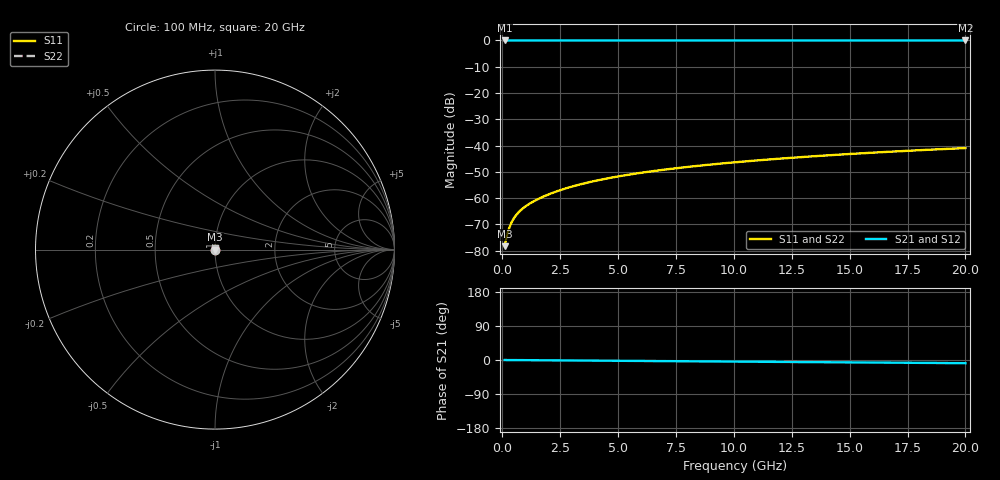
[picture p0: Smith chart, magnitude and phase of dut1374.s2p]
! Touchstone file exported from HFSS 2026.1.0
!  File:  C:/ffzhzh/LocalFiles/Ansys_Project_Files/temp_train_TSV_1374_1783196300_18472.aedt
!  Generated:  04:19:58 AM Jul  5, 2026
!  Design:  TSV
!  Project:  temp_train_TSV_1374_1783196300_18472
! Variables:
!  h_bsmrdl = 2um
!  h_ox = 20um
!  h_rdl = 5um
!  h_sub = 81.36um
!  h_tmrdl = 5um
!  h_tsv = 81.36um
!  h_via = 3um
!  l_bsmrdl = 300um
!  l_sub = 425.98um
!  l_tmrdl = 200um
!  m_sub = 200um
!  pitch = 55.28um
!  r_tsv = 12.99um
!  s_tmrdl = 10um
!  w_bsmrdl = 18um
!  w_sub = 500um
!  w_tmrdl = 12um
!  x_tsv_center1 = 206um
!  x_tsv_center2 = 524um
!  x_tsv_center3 = 736um
!  x_tsv_center4 = 1054um
!  x_tsv_center5 = 1266um
!  x_tsv_center6 = 1584um
# GHz S MA R 50.000000
! Terminal data exported
! Port[1] = TSV1_1_T1
! Port[2] = TSV1_1_T2
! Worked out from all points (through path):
!   200 points, 100 MHz to 20 GHz, reference 50 ohm
!   highest |S21| = 0.00 dB at 100 MHz (marker M1); lowest = 0.0 dB at 20 GHz (marker M2)
!   group delay of S21, straight-line fit = 1.16 ps
!   lowest |S11| = -78.3 dB at 100 MHz (marker M3), VSWR 1.00, Z = 50 + j0.00857 ohm
!   |S11| at or under -10 dB: start of sweep to end of sweep
!   |S22| runs from -78.3 to -40.9 dB; largest |S21 - S12| = 3.4e-15
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0.1  0.0001218 44.7  0.9999 -0.0  0.9999 -0.0  0.0001218 44.7
! Gamma 0 0 0 0
! Port Impedance 50 0 50 0
0.2  0.0001952 59.4  0.9999 -0.1  0.9999 -0.1  0.0001952 59.4
0.3  0.0002718 64.2  0.9999 -0.1  0.9999 -0.1  0.0002718 64.2
0.4  0.0003449 65.9  0.9999 -0.2  0.9999 -0.2  0.0003449 65.9
0.5  0.0004129 66.6  0.9998 -0.2  0.9998 -0.2  0.0004129 66.6
0.6  0.000476 66.9  0.9998 -0.3  0.9998 -0.3  0.000476 66.9
0.7  0.0005349 67.2  0.9998 -0.3  0.9998 -0.3  0.0005349 67.2
0.9  0.0006437 67.7  0.9998 -0.4  0.9998 -0.4  0.0006436 67.7
1.1  0.0007449 68.4  0.9997 -0.5  0.9997 -0.5  0.0007449 68.4
1.3  0.0008426 69.3  0.9997 -0.6  0.9997 -0.6  0.0008426 69.3
1.6  0.0009864 70.5  0.9997 -0.7  0.9997 -0.7  0.0009864 70.5
1.9  0.001129 71.6  0.9997 -0.8  0.9997 -0.8  0.001129 71.6
2.6  0.001463 73.6  0.9996 -1.1  0.9996 -1.1  0.001463 73.6
3.5  0.001889 75.0  0.9996 -1.5  0.9996 -1.5  0.001889 75.0
4.2  0.002216 75.6  0.9995 -1.8  0.9995 -1.8  0.002216 75.6
5  0.002584 76.1  0.9995 -2.1  0.9995 -2.1  0.002584 76.1
6.8  0.003392 76.6  0.9994 -2.9  0.9994 -2.9  0.003392 76.6
8.3  0.004051 76.7  0.9993 -3.5  0.9993 -3.5  0.004051 76.7
10.1  0.004831 76.7  0.9992 -4.2  0.9992 -4.2  0.004831 76.7
13.4  0.006239 76.4  0.9991 -5.6  0.9991 -5.6  0.006239 76.4
16.7  0.00762 75.7  0.999 -7.0  0.999 -7.0  0.00762 75.7
20  0.008968 74.8  0.9989 -8.4  0.9989 -8.4  0.008968 74.8
